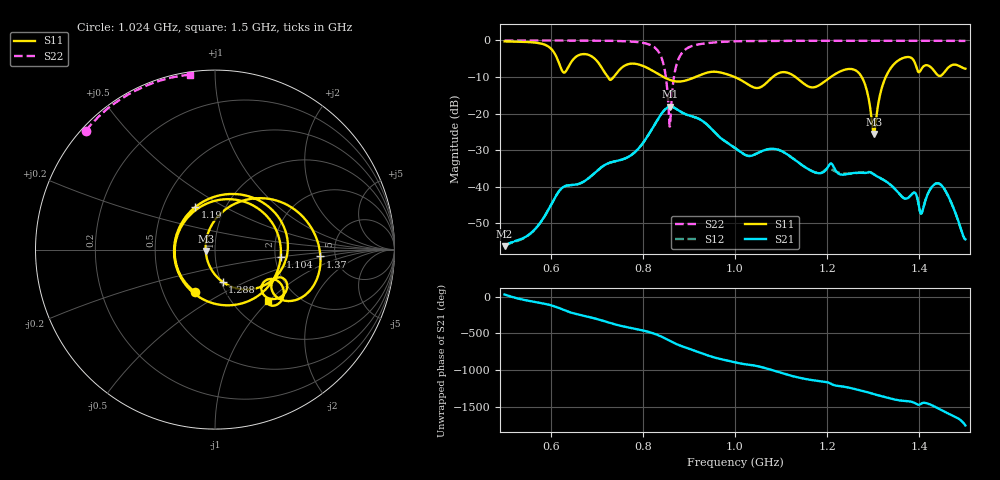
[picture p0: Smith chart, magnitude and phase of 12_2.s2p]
! TOUCHSTONE file generated by CST MICROWAVE STUDIO
! Date and time: Mon Nov 30 09:07:20 2020
! Project name: Scenario_1_Planar_Body_Tissue_Out_of_Line_v2.cst
! Parameters = {dy1=-155.7; L_HA=400; Ltissue=700; MT=2.54; Rad_Dielectric=30; Rad_Lower=7.3; Rad_Upper=30; Wtissue=700; a_HA=580; a_WG=246; b_HA=500; b_WG=121; c_HA=0; c_WG=187; d_feed=85; dx1=346; h_feed=15; h_lower=18; h_upper=40; hfat=3; hgap=25; hmuscle=50; hskin=1.5}
! Header version: 2018
! Port assignment regex: !\s*Touchstone port\s*([0-9]+)\s*=\s*(CST MWS port|CST DS port)\s*([0-9]+|Zmin|Zmax)\s*\(\"(.*)\"\)(\s*mode\s*([0-9]+))?.*
! Touchstone port assignment:
! Touchstone port 1 = CST MWS port 1 ("")
! Touchstone port 2 = CST MWS port 2 ("")
# GHz S DB R 50
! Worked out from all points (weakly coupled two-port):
!   1003 points, 500 MHz to 1.5 GHz, reference 50 ohm
!   highest |S21| = -18.13 dB at 860 MHz (marker M1); lowest = -56.3 dB at 500 MHz (marker M2)
!   lowest |S11| = -25.6 dB at 1.301 GHz (marker M3), VSWR 1.11, Z = 45.1 - j0.699 ohm
!   |S11| at or under -10 dB: 844.8 MHz to 914.4 MHz (69.6 MHz wide, 7.91 % of centre); 999 MHz to 1.082 GHz (82.87 MHz wide, 7.96 % of centre); 1.131 GHz to 1.208 GHz (76.59 MHz wide, 6.55 % of centre)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
!   |S22| runs from -23.6 to 0.0 dB; largest |S21 - S12| = 0.0034
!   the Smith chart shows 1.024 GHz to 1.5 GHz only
!   S11 on the Smith chart (normalised r, x): 1.024 GHz: 0.72, -0.36; 1.104 GHz: 2.14, -0.21; 1.19 GHz: 0.72, +0.37; 1.288 GHz: 1.02, -0.38; 1.37 GHz: 3.80, -0.44; 1.5 GHz: 1.44, -0.99
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0.5  -0.27 -121.8  -56.28 27.6  -56.28 27.6  -0.01 151.1
0.667  -3.79 157.5  -38.94 105.5  -38.94 105.5  -0.04 138.4
0.717  -8.73 27.6  -34.10 23.0  -34.10 23.0  -0.09 132.7
0.742  -9.14 -100.4  -33.01 -23.0  -33.01 -23.0  -0.14 129.0
0.77  -6.44 175.5  -31.75 -62.7  -31.75 -62.7  -0.27 123.2
0.834  -9.24 37.1  -21.25 -168.1  -21.26 -168.1  -3.09 84.6
0.86  -10.86 -30.2  -18.13 111.6  -18.13 111.6  -21.39 -92.8
0.889  -11.10 -120.0  -19.98 34.0  -19.98 34.0  -2.84 177.5
0.94  -8.80 84.6  -23.09 -80.0  -23.10 -80.0  -0.74 151.7
1  -10.05 -55.4  -29.43 -176.2  -29.43 -176.1  -0.25 140.5
1.024  -11.69 -115.3  -31.42 156.4  -31.42 156.4  -0.19 137.3
1.072  -11.16 86.0  -29.76 94.2  -29.76 94.2  -0.15 132.3
1.104  -8.67 -6.7  -30.44 32.4  -30.44 32.4  -0.12 129.4
1.167  -12.85 177.7  -35.74 -57.7  -35.75 -57.9  -0.10 124.2
1.19  -11.65 114.6  -36.16 -77.2  -36.02 -77.6  -0.10 122.5
1.249  -7.80 8.5  -36.43 -163.3  -36.45 -163.2  -0.08 118.0
1.288  -14.68 -76.9  -36.13 136.6  -35.96 136.0  -0.09 115.1
1.301  -25.60 -171.5  -36.64 110.6  -36.56 110.6  -0.09 114.1
1.334  -8.35 48.6  -39.13 56.8  -39.13 56.8  -0.08 111.6
1.37  -4.61 -3.7  -43.29 18.5  -43.29 18.5  -0.09 108.8
1.445  -9.73 -34.1  -39.30 -97.3  -39.30 -97.3  -0.11 102.7
1.5  -7.73 -44.1  -54.42 44.3  -54.42 44.3  -0.13 98.0
